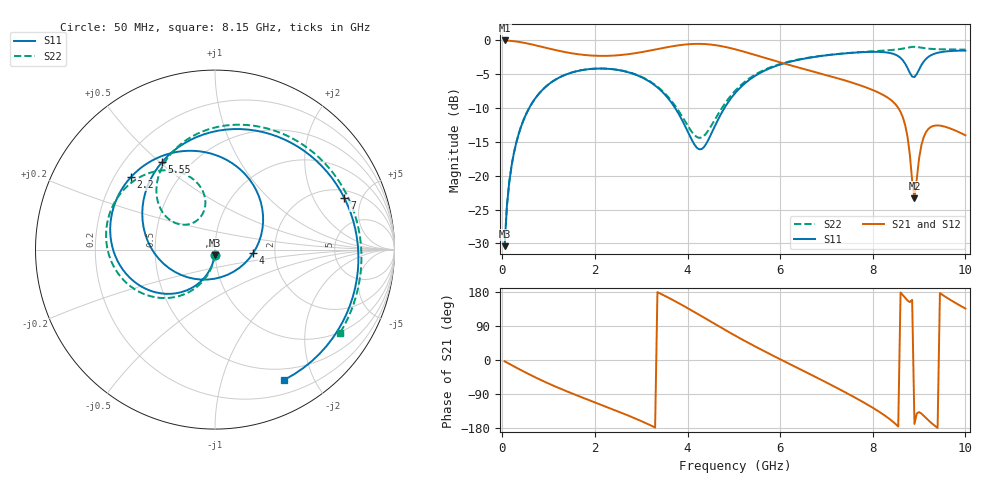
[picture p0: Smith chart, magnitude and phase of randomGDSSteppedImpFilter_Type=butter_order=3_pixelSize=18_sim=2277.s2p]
! freq	dB(S11)	phase(S11)	dB(S12)	phase(S12)
!  dB(S21)	phase(S21)	dB(S22)	phase(S22)
!S-par simulation data
#  GHz  S  DB  R 50
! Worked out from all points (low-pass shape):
!   200 points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, 50 MHz to 10 GHz, reference 50 ohm
!   highest |S21| = -0.01 dB at 50 MHz (marker M1); lowest = -23.4 dB at 8.9 GHz (marker M2)
!   |S21| within 3 dB of the highest: start of sweep to 5.881 GHz
!   lowest |S11| = -30.4 dB at 50 MHz (marker M3), VSWR 1.06, Z = 49.7 - j3 ohm
!   |S11| at or under -10 dB: start of sweep to 581.2 MHz; 3.732 GHz to 4.797 GHz (1.064 GHz wide, 25 % of centre)
!   |S22| runs from -30.4 to -0.9 dB; largest |S21 - S12| = 0
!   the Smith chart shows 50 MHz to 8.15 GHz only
!   S11 on the Smith chart (normalised r, x): 50 MHz: 0.99, -0.06; 2.2 GHz: 0.27, +0.35; 4 GHz: 1.54, -0.06; 5.55 GHz: 0.35, +0.51; 7 GHz: 2.49, +3.59; 8.15 GHz: 0.36, -1.60
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0.05  -30.41 -93.7  -0.01 -3.4  -0.01 -3.4  -30.40 -93.3
0.2  -18.53 -104.5  -0.08 -13.4  -0.08 -13.4  -18.53 -103.2
0.5  -11.11 -125.0  -0.40 -32.8  -0.40 -32.8  -11.10 -121.6
1.75  -4.36 162.8  -2.14 -100.0  -2.14 -100.0  -4.35 176.3
2.2  -4.17 139.2  -2.29 -121.3  -2.29 -121.3  -4.16 157.7
3.4  -7.25 63.4  -1.22 176.0  -1.22 176.0  -7.12 110.3
4  -13.41 -5.2  -0.58 137.0  -0.58 137.0  -12.55 104.1
4.35  -15.80 -90.7  -0.53 112.2  -0.53 112.2  -14.14 132.6
5.05  -7.62 162.9  -1.35 62.8  -1.35 62.8  -7.29 138.4
5.55  -4.87 121.0  -2.34 30.0  -2.34 30.0  -4.72 116.1
6.7  -2.49 41.4  -4.57 -40.8  -4.57 -40.8  -2.45 55.6
7  -2.20 21.6  -5.13 -59.4  -5.13 -59.4  -2.18 38.4
7.6  -1.81 -18.8  -6.34 -98.1  -6.34 -98.1  -1.79 1.8
8.15  -1.70 -62.2  -7.80 -137.5  -7.80 -137.5  -1.54 -33.9
8.35  -1.83 -83.7  -8.59 -154.5  -8.59 -154.5  -1.45 -47.0
8.7  -3.44 -156.1  -12.53 164.1  -12.53 164.1  -1.14 -70.4
8.8  -4.79 157.6  -16.85 152.8  -16.85 152.8  -1.00 -77.8
8.9  -5.42 93.2  -23.35 -168.7  -23.35 -168.7  -0.95 -85.7
9  -4.30 35.3  -17.43 -137.4  -17.43 -137.4  -1.03 -93.5
9.15  -2.73 -16.2  -13.54 -153.2  -13.54 -153.2  -1.18 -103.9
9.5  -1.70 -70.6  -12.65 172.3  -12.65 172.3  -1.32 -126.7
10  -1.51 -113.2  -14.02 135.8  -14.02 135.8  -1.35 -158.5
